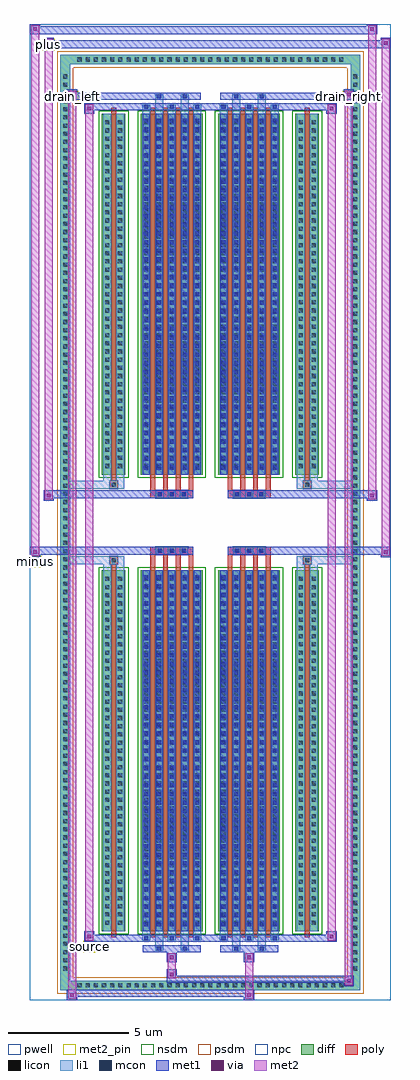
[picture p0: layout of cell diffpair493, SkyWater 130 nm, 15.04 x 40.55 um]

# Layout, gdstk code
import gdstk
lib = gdstk.Library(unit=1e-6, precision=5e-09)
def R(c, l, rs):  # rectangles x0, y0, x1, y1
    for r in rs: c.add(gdstk.rectangle(r[:2], r[2:], *l))
def A(c, l, x, y, w, h, nx, ny, dx, dy):  # array of equal rectangles
    R(c, l, [(x+i*dx, y+j*dy, x+i*dx+w, y+j*dy+h) for i in range(nx) for j in range(ny)])
def P(c, l, *ps):  # polygons
    for p in ps: c.add(gdstk.Polygon(p, *l))
pwell = (64, 44)
diff = (65, 20)
poly = (66, 20)
licon = (66, 44)
li1 = (67, 20)
mcon = (67, 44)
met1 = (68, 20)
via = (68, 44)
met2_pin = (69, 16)
met2 = (69, 20)
nsdm = (93, 44)
psdm = (94, 20)
npc = (95, 20)

diffpair493 = lib.new_cell('diffpair493')
R(diffpair493, pwell, [(-7.5,-19.84,7.5,20.71), (-4.82,-18.03,-0.01,-0.805), (0.01,-18.03,4.82,-0.805), (-4.82,0.805,-0.01,18.03), (0.01,0.805,4.82,18.03)])
A(diffpair493, diff, -5.645, -19.44, 0.41, 0.41, 33, 2, 0.34, 38.47)
A(diffpair493, diff, -6.23, -18.735, 0.41, 0.41, 1, 110, 0, 0.34)
A(diffpair493, diff, 5.82, -18.735, 0.41, 0.41, 1, 110, 0, 0.34)
R(diffpair493, diff, [(-5.645,-19.44,5.645,-19.03), (-6.23,-18.735,-5.82,18.735), (5.82,-18.735,6.23,18.735), (-4.51,-16.985,-3.53,-1.985), (-2.89,-16.985,-0.32,-1.985), (0.32,-16.985,2.89,-1.985), (3.53,-16.985,4.51,-1.985), (-4.51,1.985,-3.53,16.985), (-2.89,1.985,-0.32,16.985), (0.32,1.985,2.89,16.985), (3.53,1.985,4.51,16.985), (-5.645,19.03,5.645,19.44)])
P(diffpair493, diff, [(6.23,19.44),(-6.23,19.44),(-6.23,-19.03),(-5.82,-19.03),(-5.82,19.03),(5.82,19.03),(5.82,-19.03),(-5.82,-19.03),(-6.23,-19.03),(-6.23,-19.44),(6.23,-19.44)])
A(diffpair493, poly, -2.5, -17.235, 0.2, 15.5, 4, 2, 0.53, 18.97)
A(diffpair493, poly, 0.71, -17.235, 0.2, 15.5, 4, 2, 0.53, 18.97)
A(diffpair493, poly, -2.5, -1.735, 0.2, 0.4, 4, 2, 0.53, 3.07)
A(diffpair493, poly, 0.71, -1.735, 0.2, 0.4, 4, 2, 0.53, 3.07)
A(diffpair493, poly, -2.27, -1.335, 0.33, 0.33, 3, 2, 0.5, 2.34)
A(diffpair493, poly, 0.94, -1.335, 0.33, 0.33, 3, 2, 0.5, 2.34)
R(diffpair493, poly, [(-4.12,-17.235,-3.92,-1.735), (3.92,-17.235,4.12,-1.735), (-4.185,-1.735,-3.855,-1.405), (-4.185,-1.735,-3.855,-1.405), (3.855,-1.735,4.185,-1.405), (3.855,-1.735,4.185,-1.405), (-2.5,-1.335,-0.71,-1.005), (0.71,-1.335,2.5,-1.005), (-2.5,1.005,-0.71,1.335), (0.71,1.005,2.5,1.335), (-4.185,1.405,-3.855,1.735), (-4.185,1.405,-3.855,1.735), (3.855,1.405,4.185,1.735), (3.855,1.405,4.185,1.735), (-4.12,1.735,-3.92,17.235), (3.92,1.735,4.12,17.235)])
A(diffpair493, licon, -5.525, -19.32, 0.17, 0.17, 33, 2, 0.34, 38.47)
A(diffpair493, licon, -6.11, -18.615, 0.17, 0.17, 1, 110, 0, 0.34)
A(diffpair493, licon, 5.94, -18.615, 0.17, 0.17, 1, 110, 0, 0.34)
A(diffpair493, licon, -4.37, -16.71, 0.17, 0.17, 1, 43, 0, 0.34)
A(diffpair493, licon, -3.84, -16.71, 0.17, 0.17, 1, 43, 0, 0.34)
A(diffpair493, licon, -2.75, -16.71, 0.17, 0.17, 5, 43, 0.53, 0.34)
A(diffpair493, licon, 0.46, -16.71, 0.17, 0.17, 5, 43, 0.53, 0.34)
A(diffpair493, licon, 3.67, -16.71, 0.17, 0.17, 1, 43, 0, 0.34)
A(diffpair493, licon, 4.2, -16.71, 0.17, 0.17, 1, 43, 0, 0.34)
A(diffpair493, licon, -2.19, -1.255, 0.17, 0.17, 3, 2, 0.5, 2.34)
A(diffpair493, licon, 1.02, -1.255, 0.17, 0.17, 3, 2, 0.5, 2.34)
A(diffpair493, licon, -4.37, 2.26, 0.17, 0.17, 1, 43, 0, 0.34)
A(diffpair493, licon, -3.84, 2.26, 0.17, 0.17, 1, 43, 0, 0.34)
A(diffpair493, licon, -2.75, 2.26, 0.17, 0.17, 5, 43, 0.53, 0.34)
A(diffpair493, licon, 0.46, 2.26, 0.17, 0.17, 5, 43, 0.53, 0.34)
A(diffpair493, licon, 3.67, 2.26, 0.17, 0.17, 1, 43, 0, 0.34)
A(diffpair493, licon, 4.2, 2.26, 0.17, 0.17, 1, 43, 0, 0.34)
R(diffpair493, licon, [(-4.105,-1.655,-3.935,-1.485), (3.935,-1.655,4.105,-1.485), (-4.105,1.485,-3.935,1.655), (3.935,1.485,4.105,1.655)])
A(diffpair493, li1, -5.605, -19.4, 0.33, 0.33, 33, 2, 0.34, 38.47)
A(diffpair493, li1, -6.19, -18.695, 0.33, 0.33, 1, 110, 0, 0.34)
A(diffpair493, li1, 5.86, -18.695, 0.33, 0.33, 1, 110, 0, 0.34)
A(diffpair493, li1, -2.83, -17.36, 0.33, 0.375, 3, 2, 1.06, 34.345)
A(diffpair493, li1, -2.75, -17.36, 0.17, 0.17, 3, 2, 1.06, 34.55)
A(diffpair493, li1, 0.38, -17.36, 0.33, 0.375, 3, 2, 1.06, 34.345)
A(diffpair493, li1, 0.46, -17.36, 0.17, 0.17, 3, 2, 1.06, 34.55)
A(diffpair493, li1, -2.83, -16.985, 0.33, 15, 5, 2, 0.53, 18.97)
A(diffpair493, li1, 0.38, -16.985, 0.33, 15, 5, 2, 0.53, 18.97)
A(diffpair493, li1, -4.45, -16.79, 0.33, 0.33, 1, 43, 0, 0.34)
A(diffpair493, li1, -3.92, -16.79, 0.33, 0.33, 1, 43, 0, 0.34)
A(diffpair493, li1, -2.83, -16.79, 0.33, 0.33, 5, 43, 0.53, 0.34)
A(diffpair493, li1, 0.38, -16.79, 0.33, 0.33, 5, 43, 0.53, 0.34)
A(diffpair493, li1, 3.59, -16.79, 0.33, 0.33, 1, 43, 0, 0.34)
A(diffpair493, li1, 4.12, -16.79, 0.33, 0.33, 1, 43, 0, 0.34)
A(diffpair493, li1, -2.75, -16.77, 0.17, 0.17, 5, 41, 0.53, 0.36)
A(diffpair493, li1, -2.75, -16.77, 0.17, 14.57, 5, 2, 0.53, 18.97)
A(diffpair493, li1, 0.46, -16.77, 0.17, 0.17, 5, 41, 0.53, 0.36)
A(diffpair493, li1, 0.46, -16.77, 0.17, 14.57, 5, 2, 0.53, 18.97)
A(diffpair493, li1, -2.27, -1.335, 0.33, 0.33, 3, 2, 0.5, 2.34)
A(diffpair493, li1, 0.94, -1.335, 0.33, 0.33, 3, 2, 0.5, 2.34)
A(diffpair493, li1, -4.45, 2.18, 0.33, 0.33, 1, 43, 0, 0.34)
A(diffpair493, li1, -3.92, 2.18, 0.33, 0.33, 1, 43, 0, 0.34)
A(diffpair493, li1, -2.83, 2.18, 0.33, 0.33, 5, 43, 0.53, 0.34)
A(diffpair493, li1, 0.38, 2.18, 0.33, 0.33, 5, 43, 0.53, 0.34)
A(diffpair493, li1, 3.59, 2.18, 0.33, 0.33, 1, 43, 0, 0.34)
A(diffpair493, li1, 4.12, 2.18, 0.33, 0.33, 1, 43, 0, 0.34)
A(diffpair493, li1, -2.75, 2.2, 0.17, 0.17, 5, 41, 0.53, 0.36)
A(diffpair493, li1, 0.46, 2.2, 0.17, 0.17, 5, 41, 0.53, 0.36)
R(diffpair493, li1, [(-6.23,-19.44,-5.82,-19.03), (-6.23,-19.44,-5.82,-19.03), (-5.82,-19.44,5.82,-19.03), (5.82,-19.44,6.23,-19.03), (5.82,-19.44,6.23,-19.03), (-6.23,-19.03,-5.82,19.03), (5.82,-19.03,6.23,19.03), (-2.3,-17.79,-1.97,-16.985), (-2.22,-17.79,-2.05,-17.62), (-1.24,-17.79,-0.91,-16.985), (-1.16,-17.79,-0.99,-17.62), (0.91,-17.79,1.24,-16.985), (0.99,-17.79,1.16,-17.62), (1.97,-17.79,2.3,-16.985), (2.05,-17.79,2.22,-17.62), (-4.45,-16.985,-4.12,-1.985), (-3.92,-16.985,-3.59,-1.985), (3.59,-16.985,3.92,-1.985), (4.12,-16.985,4.45,-1.985), (-4.45,-1.985,-4.12,-1.405), (-3.92,-1.985,-3.59,-1.405), (3.59,-1.985,3.92,-1.405), (4.12,-1.985,4.45,-1.405), (-6.23,-1.735,-4.185,-1.405), (-4.45,-1.735,-4.185,-1.405), (-4.185,-1.735,-3.855,-1.405), (-3.855,-1.735,-3.59,-1.405), (3.59,-1.735,3.855,-1.405), (3.855,-1.735,4.185,-1.405), (3.855,-1.735,6.23,-1.405), (4.185,-1.735,4.45,-1.405), (-6.23,1.405,-4.185,1.735), (-4.45,1.405,-4.185,1.735), (-4.45,1.405,-4.12,1.985), (-4.185,1.405,-3.855,1.735), (-3.92,1.405,-3.59,1.985), (-3.855,1.405,-3.59,1.735), (3.59,1.405,3.855,1.735), (3.59,1.405,3.92,1.985), (3.855,1.405,4.185,1.735), (3.855,1.405,6.23,1.735), (4.12,1.405,4.45,1.985), (4.185,1.405,4.45,1.735), (-4.45,1.985,-4.12,16.985), (-3.92,1.985,-3.59,16.985), (3.59,1.985,3.92,16.985), (4.12,1.985,4.45,16.985), (-2.3,16.985,-1.97,17.79), (-1.24,16.985,-0.91,17.79), (0.91,16.985,1.24,17.79), (1.97,16.985,2.3,17.79), (-2.22,17.62,-2.05,17.79), (-1.16,17.62,-0.99,17.79), (0.99,17.62,1.16,17.79), (2.05,17.62,2.22,17.79), (-6.23,19.03,-5.82,19.44), (-6.23,19.03,-5.82,19.44), (-5.82,19.03,5.82,19.44), (5.82,19.03,6.23,19.44), (5.82,19.03,6.23,19.44)])
A(diffpair493, mcon, -2.75, -17.36, 0.17, 0.17, 3, 2, 1.06, 34.55)
A(diffpair493, mcon, 0.46, -17.36, 0.17, 0.17, 3, 2, 1.06, 34.55)
A(diffpair493, mcon, -2.75, -16.77, 0.17, 0.17, 5, 41, 0.53, 0.36)
A(diffpair493, mcon, 0.46, -16.77, 0.17, 0.17, 5, 41, 0.53, 0.36)
A(diffpair493, mcon, -2.19, -1.255, 0.17, 0.17, 3, 2, 0.5, 2.34)
A(diffpair493, mcon, 1.02, -1.255, 0.17, 0.17, 3, 2, 0.5, 2.34)
A(diffpair493, mcon, -2.75, 2.2, 0.17, 0.17, 5, 41, 0.53, 0.36)
A(diffpair493, mcon, 0.46, 2.2, 0.17, 0.17, 5, 41, 0.53, 0.36)
R(diffpair493, mcon, [(-2.22,-17.79,-2.05,-17.62), (-1.16,-17.79,-0.99,-17.62), (0.99,-17.79,1.16,-17.62), (2.05,-17.79,2.22,-17.62), (-2.22,17.62,-2.05,17.79), (-1.16,17.62,-0.99,17.79), (0.99,17.62,1.16,17.79), (2.05,17.62,2.22,17.79)])
A(diffpair493, met1, -2.81, -17.42, 0.29, 0.29, 3, 2, 1.06, 34.55)
A(diffpair493, met1, 0.4, -17.42, 0.29, 0.29, 3, 2, 1.06, 34.55)
A(diffpair493, met1, -2.81, -16.985, 0.29, 15, 5, 2, 0.53, 18.97)
A(diffpair493, met1, 0.4, -16.985, 0.29, 15, 5, 2, 0.53, 18.97)
A(diffpair493, met1, -2.81, -16.83, 0.29, 0.29, 5, 41, 0.53, 0.36)
A(diffpair493, met1, 0.4, -16.83, 0.29, 0.29, 5, 41, 0.53, 0.36)
A(diffpair493, met1, -2.25, -1.315, 0.29, 0.29, 3, 2, 0.5, 2.34)
A(diffpair493, met1, 0.96, -1.315, 0.29, 0.29, 3, 2, 0.5, 2.34)
A(diffpair493, met1, -2.81, 2.14, 0.29, 0.29, 5, 41, 0.53, 0.36)
A(diffpair493, met1, 0.4, 2.14, 0.29, 0.29, 5, 41, 0.53, 0.36)
R(diffpair493, met1, [(-5.96,-19.84,-5.53,-19.41), (1.39,-19.84,1.82,-19.41), (-5.96,-19.7,1.82,-19.41), (5.53,-19.27,5.96,-18.84), (-1.82,-19.13,5.96,-18.84), (-1.82,-18.99,-1.39,-18.56), (-1.82,-18.28,-1.39,-17.85), (1.39,-18.28,1.82,-17.85), (-2.81,-17.85,-0.4,-17.56), (-2.28,-17.85,-1.99,-17.56), (-1.22,-17.85,-0.93,-17.56), (0.4,-17.85,2.81,-17.56), (0.93,-17.85,1.22,-17.56), (1.99,-17.85,2.28,-17.56), (-5.25,-17.42,-4.82,-16.99), (-5.25,-17.42,-2.81,-17.13), (-2.81,-17.42,-0.4,-17.13), (-0.4,-17.42,0.4,-17.13), (0.4,-17.42,2.81,-17.13), (2.81,-17.42,5.25,-17.13), (4.82,-17.42,5.25,-16.99), (-7.5,-1.435,-7.07,-1.005), (7.07,-1.435,7.5,-1.005), (-7.5,-1.335,-0.71,-1.005), (-2.5,-1.335,-0.71,-1.005), (0.71,-1.335,2.5,-1.005), (0.71,-1.335,7.5,-1.005), (-6.93,0.905,-6.5,1.335), (6.5,0.905,6.93,1.335), (-6.93,1.005,-2.5,1.335), (-2.5,1.005,-0.71,1.335), (0.71,1.005,2.5,1.335), (2.5,1.005,6.93,1.335), (-5.25,16.99,-4.82,17.42), (4.82,16.99,5.25,17.42), (-5.25,17.13,-2.81,17.42), (-2.81,17.13,-0.4,17.42), (-0.4,17.13,0.4,17.42), (0.4,17.13,2.81,17.42), (2.81,17.13,5.25,17.42), (-5.96,17.56,-5.53,17.99), (-5.96,17.56,-2.81,17.85), (-2.81,17.56,-0.4,17.85), (-2.28,17.56,-1.99,17.85), (-1.22,17.56,-0.93,17.85), (0.4,17.56,2.81,17.85), (0.93,17.56,1.22,17.85), (1.99,17.56,2.28,17.85), (2.81,17.56,5.96,17.85), (5.53,17.56,5.96,17.99), (-6.93,19.71,-6.5,20.14), (-6.93,19.71,-4.82,20.04), (-4.82,19.71,4.82,20.04), (4.82,19.71,7.5,20.04), (7.07,19.71,7.5,20.14), (-7.5,20.28,-7.07,20.71), (-7.5,20.28,-4.82,20.61), (-4.82,20.28,4.82,20.61), (4.82,20.28,6.93,20.61), (6.5,20.28,6.93,20.71)])
R(diffpair493, via, [(-5.82,-19.7,-5.67,-19.55), (1.53,-19.7,1.68,-19.55), (5.67,-19.13,5.82,-18.98), (-1.68,-18.85,-1.53,-18.7), (-1.68,-18.14,-1.53,-17.99), (1.53,-18.14,1.68,-17.99), (-5.11,-17.28,-4.96,-17.13), (4.96,-17.28,5.11,-17.13), (-7.36,-1.295,-7.21,-1.145), (7.21,-1.295,7.36,-1.145), (-6.79,1.045,-6.64,1.195), (6.64,1.045,6.79,1.195), (-5.11,17.13,-4.96,17.28), (4.96,17.13,5.11,17.28), (-5.82,17.7,-5.67,17.85), (5.67,17.7,5.82,17.85), (-6.79,19.85,-6.64,20), (7.21,19.85,7.36,20), (-7.36,20.42,-7.21,20.57), (6.64,20.42,6.79,20.57)])
R(diffpair493, met2_pin, [(-5.285,-17.87,-4.785,-17.37), (-7.535,-1.885,-7.035,-1.385), (-5.995,17.44,-5.495,17.94), (5.495,17.44,5.995,17.94), (-6.965,19.59,-6.465,20.09)])
R(diffpair493, met2, [(-5.91,-19.79,-5.58,-19.46), (-5.91,-19.79,-5.58,17.94), (1.44,-19.79,1.77,-19.46), (1.44,-19.46,1.77,-18.23), (5.58,-19.22,5.91,-18.89), (5.58,-19.22,5.91,17.94), (-1.77,-18.94,-1.44,-18.61), (-1.77,-18.61,-1.44,-18.23), (-1.77,-18.23,-1.44,-17.9), (1.44,-18.23,1.77,-17.9), (-5.2,-17.37,-4.87,-17.04), (-5.2,-17.37,-4.87,17.37), (4.87,-17.37,5.2,-17.04), (4.87,-17.37,5.2,17.37), (-7.45,-1.385,-7.12,-1.055), (-7.45,-1.385,-7.12,20.66), (7.12,-1.385,7.45,-1.055), (7.12,-1.385,7.45,20.09), (-6.88,0.955,-6.55,1.285), (-6.88,0.955,-6.55,20.09), (6.55,0.955,6.88,1.285), (6.55,0.955,6.88,20.66), (-5.2,17.04,-4.87,17.37), (4.87,17.04,5.2,17.37), (-5.91,17.61,-5.58,17.94), (5.58,17.61,5.91,17.94), (-6.88,19.76,-6.55,20.09), (7.12,19.76,7.45,20.09), (-7.45,20.33,-7.12,20.66), (6.55,20.33,6.88,20.66)])
P(diffpair493, met2, [(7.45,-1.385),(7.45,-1.385),(7.45,-1.055),(7.45,-1.055)],
  [(7.45,19.76),(7.45,19.76),(7.45,20.09),(7.45,20.09)],
  [(-7.12,-1.385),(-7.12,-1.385),(-7.12,-1.055),(-7.12,-1.055)],
  [(-7.12,20.33),(-7.12,20.33),(-7.12,20.66),(-7.12,20.66)],
  [(6.88,0.955),(6.88,0.955),(6.88,1.285),(6.88,1.285)],
  [(6.88,20.33),(6.88,20.33),(6.88,20.66),(6.88,20.66)],
  [(-6.55,0.955),(-6.55,0.955),(-6.55,1.285),(-6.55,1.285)],
  [(-6.55,19.76),(-6.55,19.76),(-6.55,20.09),(-6.55,20.09)],
  [(-5.58,-19.79),(-5.58,-19.79),(-5.58,-19.46),(-5.58,-19.46)],
  [(-5.58,17.61),(-5.58,17.61),(-5.58,17.94),(-5.58,17.94)],
  [(5.91,-19.22),(5.91,-19.22),(5.91,-18.89),(5.91,-18.89)],
  [(5.91,17.61),(5.91,17.61),(5.91,17.94),(5.91,17.94)],
  [(-4.87,-17.37),(-4.87,-17.37),(-4.87,-17.04),(-4.87,-17.04)],
  [(-4.87,17.04),(-4.87,17.04),(-4.87,17.37),(-4.87,17.37)],
  [(5.2,-17.37),(5.2,-17.37),(5.2,-17.04),(5.2,-17.04)],
  [(5.2,17.04),(5.2,17.04),(5.2,17.37),(5.2,17.37)])
R(diffpair493, nsdm, [(-4.64,-17.115,-3.4,-1.855), (-3.02,-17.115,-0.19,-1.855), (0.19,-17.115,3.02,-1.855), (3.4,-17.115,4.64,-1.855), (-4.64,1.855,-3.4,17.115), (-3.02,1.855,-0.19,17.115), (0.19,1.855,3.02,17.115), (3.4,1.855,4.64,17.115)])
P(diffpair493, psdm, [(6.36,19.57),(-6.36,19.57),(-6.36,-18.9),(-5.69,-18.9),(-5.69,18.9),(5.69,18.9),(5.69,-18.9),(-5.69,-18.9),(-6.36,-18.9),(-6.36,-19.57),(6.36,-19.57)])
A(diffpair493, npc, -2.29, -1.355, 0.37, 0.37, 3, 2, 0.5, 2.34)
A(diffpair493, npc, 0.92, -1.355, 0.37, 0.37, 3, 2, 0.5, 2.34)
R(diffpair493, npc, [(-4.205,-1.755,-3.835,-1.385), (3.835,-1.755,4.205,-1.385), (-2.29,-1.355,-1.42,-0.985), (-2.29,-1.355,-1.42,-0.985), (-1.79,-1.355,-0.92,-0.985), (-1.79,-1.355,-0.92,-0.985), (0.92,-1.355,1.79,-0.985), (0.92,-1.355,1.79,-0.985), (1.42,-1.355,2.29,-0.985), (1.42,-1.355,2.29,-0.985), (-2.29,0.985,-1.42,1.355), (-2.29,0.985,-1.42,1.355), (-1.79,0.985,-0.92,1.355), (-1.79,0.985,-0.92,1.355), (0.92,0.985,1.79,1.355), (0.92,0.985,1.79,1.355), (1.42,0.985,2.29,1.355), (1.42,0.985,2.29,1.355), (-4.205,1.385,-3.835,1.755), (3.835,1.385,4.205,1.755)])
diffpair493.add(gdstk.Label('minus', (-7.285,-1.635), layer=69, texttype=5))
diffpair493.add(gdstk.Label('drain_right', (5.745,17.69), layer=69, texttype=5))
diffpair493.add(gdstk.Label('drain_left', (-5.745,17.69), layer=69, texttype=5))
diffpair493.add(gdstk.Label('source', (-5.035,-17.62), layer=69, texttype=5))
diffpair493.add(gdstk.Label('plus', (-6.715,19.84), layer=69, texttype=5))

lib.write_gds('diffpair493.gds')
